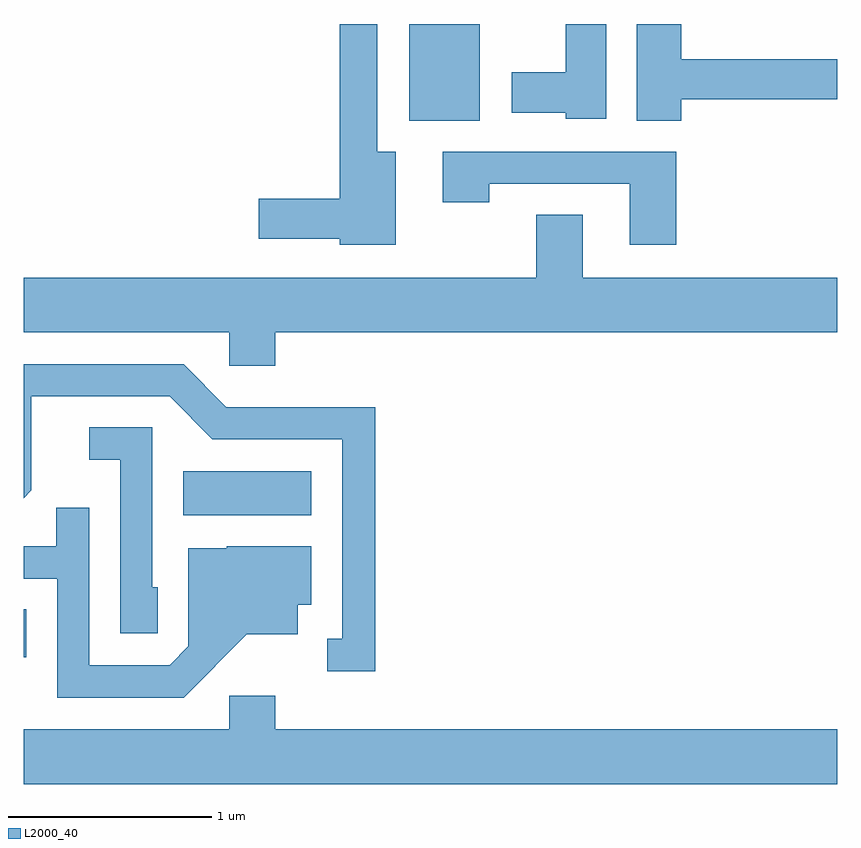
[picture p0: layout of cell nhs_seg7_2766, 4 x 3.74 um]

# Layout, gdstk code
import gdstk
lib = gdstk.Library(unit=1e-6, precision=1e-09)
def R(c, l, rs):  # rectangles x0, y0, x1, y1
    for r in rs: c.add(gdstk.rectangle(r[:2], r[2:], *l))
def P(c, l, *ps):  # polygons
    for p in ps: c.add(gdstk.Polygon(p, *l))
L2000_40 = (2000, 40)

nhs_seg7_2766 = lib.new_cell('nhs_seg7_2766')
R(nhs_seg7_2766, L2000_40, [(269.611,1737.138,269.624,1737.374), (270.396,1737.836,271.024,1738.054), (271.506,1739.776,271.854,1740.252)])
P(nhs_seg7_2766, L2000_40, [(272.844,1739.881),(273.611,1739.881),(273.611,1740.079),(272.844,1740.079),(272.844,1740.252),(272.626,1740.252),(272.626,1739.776),(272.844,1739.776)],
  [(271.439,1739.624),(271.349,1739.624),(271.349,1740.252),(271.166,1740.252),(271.166,1739.394),(270.766,1739.394),(270.766,1739.196),(271.166,1739.196),(271.166,1739.166),(271.439,1739.166)],
  [(272.474,1740.252),(272.276,1740.252),(272.276,1740.014),(272.011,1740.014),(272.011,1739.816),(272.276,1739.816),(272.276,1739.786),(272.474,1739.786)],
  [(272.819,1739.624),(271.671,1739.624),(271.671,1739.376),(271.899,1739.376),(271.899,1739.466),(272.591,1739.466),(272.591,1739.166),(272.819,1739.166)],
  [(270.849,1738.736),(273.611,1738.736),(273.611,1739.004),(272.359,1739.004),(272.359,1739.314),(272.131,1739.314),(272.131,1739.004),(269.611,1739.004),(269.611,1738.736),(270.621,1738.736),(270.621,1738.571),(270.849,1738.571)],
  [(271.339,1738.369),(270.607,1738.369),(270.397,1738.579),(269.611,1738.579),(269.611,1737.921),(269.649,1737.959),(269.649,1738.421),(270.329,1738.421),(270.539,1738.211),(271.176,1738.211),(271.176,1737.229),(271.103,1737.229),(271.103,1737.071),(271.339,1737.071)],
  [(270.269,1737.484),(270.244,1737.484),(270.244,1738.269),(269.933,1738.269),(269.933,1738.111),(270.086,1738.111),(270.086,1737.256),(270.269,1737.256)],
  [(270.707,1737.251),(270.959,1737.251),(270.959,1737.396),(271.024,1737.396),(271.024,1737.684),(270.61,1737.684),(270.61,1737.674),(270.421,1737.674),(270.421,1737.192),(270.329,1737.099),(269.934,1737.099),(269.934,1737.873),(269.771,1737.873),(269.771,1737.684),(269.611,1737.684),(269.611,1737.526),(269.776,1737.526),(269.776,1736.941),(270.397,1736.941)],
  [(273.611,1736.784),(270.849,1736.784),(270.849,1736.949),(270.621,1736.949),(270.621,1736.784),(269.611,1736.784),(269.611,1736.516),(273.611,1736.516)])

lib.write_gds('nhs_seg7_2766.gds')
